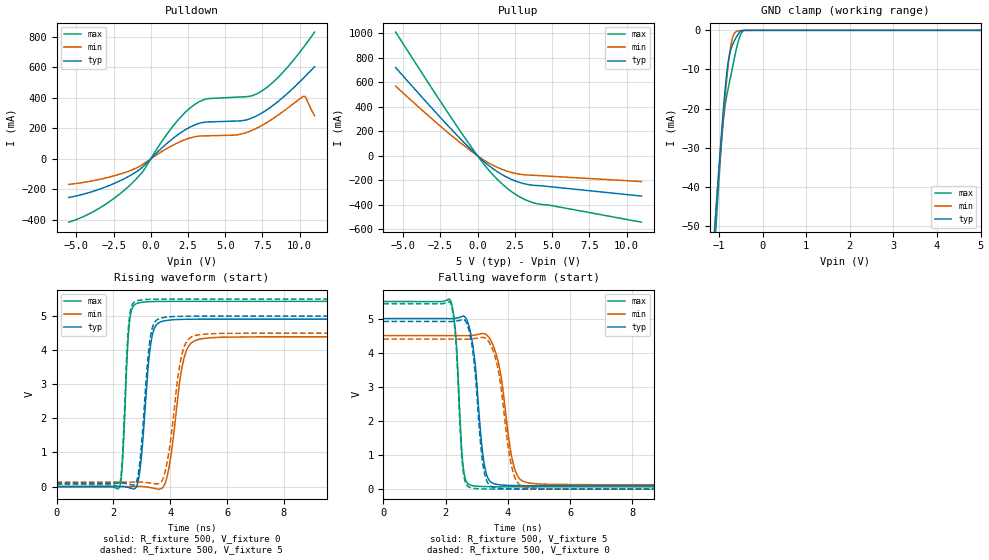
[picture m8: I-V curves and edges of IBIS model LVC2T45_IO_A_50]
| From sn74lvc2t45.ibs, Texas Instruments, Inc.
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[Model]   LVC2T45_IO_A_50
Model_type  I/O
Vinl=1.35
Vinh=3.85
Enable   Active-Low
Vref =   0
Rref =   2000
Cref =   15p
Vmeas =   2.5
| variable   typ   min   max
C_comp   6.00pF   5.17pF   7.44pF
| C_pullup   9.87pF   6.10pF   12.25pF
| C_pulldown   8.39pF   6.71pF   11.39pF
| C_tri-state   6.00pF   5.17pF   7.44pF
[Temperature Range]   40   100   -40
| Ambient temperature   25   85   -40
[Voltage range]   5   4.5   5.5
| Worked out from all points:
|   slope of the pulldown table from 0 to 0.75 V, typ, clamps not added: 10.5 ohm
|   slope of the pullup table from 0 to 0.75 V, typ, clamps not added: 9.47 ohm
|   GND clamp passes 1 mA (typ) near -0.56 V on its own axis
|   rising waveform, R_fixture 500, V_fixture 0: 20-80 % time 277ps typ, 400ps min, 175ps max; typ from 0 V to 4.91 V
|   falling waveform, R_fixture 500, V_fixture 5: 20-80 % time 285ps typ, 398ps min, 184ps max; typ from 5 V to 0.098 V
|   rising waveform, R_fixture 500, V_fixture 5: 20-80 % time 273ps typ, 398ps min, 172ps max; typ from 0.098 V to 5 V
|   falling waveform, R_fixture 500, V_fixture 0: 20-80 % time 274ps typ, 387ps min, 181ps max; typ from 4.91 V to 0 V
[GND Clamp]
| LVC2T45_IO_A_50
|   Voltage   I(typ)   I(min)   I(max)
-5.5V     -897.8mA   -832.4mA   -1.016A
-1.115V   -53.65mA   -53.2mA    -58.9mA
-1.08V    -47.86mA   -47.85mA   -52.38mA
-1.05V    -42.97mA   -43.33mA   -46.9mA
-915mV    -22.35mA   -24.01mA   -24.95mA
-870mV    -16.36mA   -18.13mA   -20.06mA
-810mV    -9.836mA   -11.06mA   -16.02mA
-710mV    -4.33mA    -2.831mA   -10.59mA
-595mV    -1.595mA   -242.2uA   -4.449mA
-505mV    -252.5uA   -82.42uA   -1.167mA
-430mV    -5.556uA   -35.43uA   -28.28uA
5V        33.63pA    125.5nA    381.3pA
[Pulldown]
| LVC2T45_IO_A_50
|   Voltage   I(typ)   I(min)   I(max)
-5.5V     -253.9mA   -167.9mA   -416mA
-3.405V   -198.2mA   -134.3mA   -321.3mA
-1.385V   -110.1mA   -77.76mA   -172.1mA
-505mV    -50.36mA   -34.24mA   -80.09mA
1.5V      134.5mA    90.2mA     215.3mA
2.835V    217.6mA    142.1mA    348.8mA
3.78V     242mA      151.3mA    394mA
5.8V      248.5mA    157.8mA    405.1mA
7.215V    287.5mA    206.6mA    431.6mA
8.585V    379.6mA    289.3mA    538.4mA
10.27V    531.7mA    410.9mA    734mA
11V       605.1mA    283.2mA    832.3mA
[Pullup]
| LVC2T45_IO_A_50
|   Voltage   I(typ)   I(min)   I(max)
-5.5V     721.6mA    569mA      1.011A
-2.265V   282.6mA    218.1mA    402.1mA
-15mV     1.749mA    1.31mA     2.539mA
515mV     -56.07mA   -41.56mA   -82.23mA
1.045V    -106.1mA   -77.7mA    -157mA
1.575V    -148.4mA   -107.1mA   -221.8mA
2.1V      -182.6mA   -129.6mA   -276.2mA
3.005V    -223.7mA   -152.9mA   -346.9mA
3.91V     -242.2mA   -159.7mA   -388.5mA
4.73V     -250.2mA   -165.5mA   -401.1mA
11V       -328.6mA   -210.1mA   -542mA
[Ramp]
| LVC2T45_IO_A_50
| variable   typ   min   max
dV/dt_r   2.99/2.87E-10   2.68/4.09E-10   3.30/1.79E-10
dV/dt_f   2.98/3.02E-10   2.66/4.14E-10   3.30/1.88E-10
R_load = 500
[Rising Waveform]
| LVC2T45_IO_A_50
R_fixture =   500
C_fixture =   0
L_fixture =   0
V_fixture =   0
V_fixture_min = 0
V_fixture_max = 0
|   Time   V(typ)   V(min)   V(max)
0s        244.9pV    5.035nV    2.219nV
2.21ns    1.936mV    52.16uV    -13.78mV
2.32ns    2.434mV    23.79uV    710.2mV
2.57ns    -38.07mV   159.1uV    4.849V
2.975ns   786mV      2.929mV    5.402V
3.445ns   4.646V     -53.22mV   5.429V
3.905ns   4.876V     349.6mV    5.432V
4.53ns    4.906V     3.9V       5.433V
5.155ns   4.91V      4.342V     5.433V
40ns      4.911V     4.393V     5.433V
[Falling Waveform]
| LVC2T45_IO_A_50
R_fixture =   500
C_fixture =   0
L_fixture =   0
V_fixture =   5
V_fixture_min = 4.5
V_fixture_max = 5.5
|   Time   V(typ)   V(min)   V(max)
0s        5V         4.5V       5.5V
2.155ns   4.997V     4.5V       5.535V
2.325ns   5.008V     4.5V       4.522V
2.57ns    5.071V     4.497V     614.3mV
2.9ns     4.043V     4.513V     96.78mV
3.35ns    344.1mV    4.494V     73.55mV
3.725ns   129.9mV    3.588V     69.61mV
4.21ns    106.4mV    621.7mV    68.21mV
4.745ns   100.5mV    172.6mV    67.81mV
40ns      98.28mV    129.8mV    67.62mV
[Rising Waveform]
| LVC2T45_IO_A_50
R_fixture =   500
C_fixture =   0
L_fixture =   0
V_fixture =   5
V_fixture_min = 4.5
V_fixture_max = 5.5
|   Time   V(typ)   V(min)   V(max)
0s        98.26mV    129.8mV    67.61mV
2.2ns     99.98mV    129.8mV    55.44mV
2.31ns    100.9mV    129.8mV    766mV
2.56ns    65.75mV    129.9mV    4.94V
2.94ns    802.3mV    133.3mV    5.469V
3.41ns    4.749V     92.37mV    5.496V
3.85ns    4.969V     540.9mV    5.499V
4.46ns    4.995V     4.026V     5.5V
5.01ns    4.999V     4.454V     5.5V
40ns      5V         4.5V       5.5V
[Falling Waveform]
| LVC2T45_IO_A_50
R_fixture =   500
C_fixture =   0
L_fixture =   0
V_fixture =   0
V_fixture_min = 0
V_fixture_max = 0
|   Time   V(typ)   V(min)   V(max)
0s        4.915V     4.397V     5.435V
2.155ns   4.912V     4.398V     5.46V
2.32ns    4.922V     4.397V     4.449V
2.56ns    4.977V     4.395V     555mV
2.88ns    3.994V     4.408V     26.63mV
3.32ns    247.5mV    4.394V     5.391mV
3.68ns    28.39mV    3.55V      1.865mV
4.16ns    6.952mV    522.3mV    557.6uV
4.67ns    1.888mV    38.49mV    193.4uV
40ns      16.46uV    23.17uV    9.635uV
